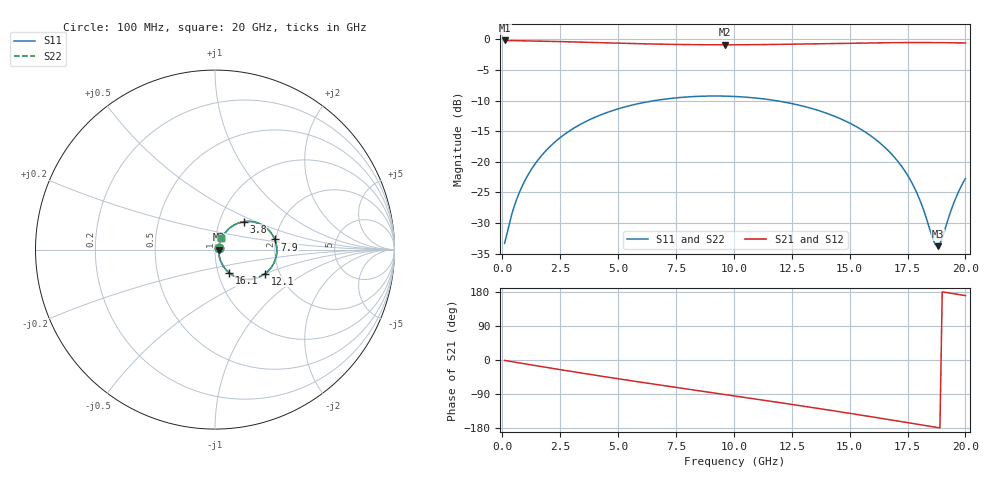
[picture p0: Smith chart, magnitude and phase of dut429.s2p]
! Touchstone file exported from HFSS 2026.1.0
!  File:  C:/ffzhzh/LocalFiles/Ansys_Project_Files/temp_train_TSV_RDL_429_1783096964_53076.aedt
!  Generated:  12:54:21 AM Jul  4, 2026
!  Design:  TSV_RDL
!  Project:  temp_train_TSV_RDL_429_1783096964_53076
! Variables:
!  h_bsmrdl = 3.95um
!  h_ox = 20um
!  h_rdl = 5um
!  h_sub = 75.34um
!  h_tmrdl = 2.76um
!  h_tsv = 75.34um
!  h_via = 3um
!  l_bsmrdl = 340.83um
!  l_sub = 3146.15um
!  l_tmrdl = 406.66um
!  m_sub = 200um
!  pitch = 27.98um
!  r_tsv = 6.09um
!  s_tmrdl = 10um
!  w_bsmrdl = 13.84um
!  w_sub = 500um
!  w_tmrdl = 18.5um
!  x_tsv_center1 = 415.91um
!  x_tsv_center2 = 770.58um
!  x_tsv_center3 = 1195.74um
!  x_tsv_center4 = 1550.41um
!  x_tsv_center5 = 1975.57um
!  x_tsv_center6 = 2330.24um
# GHz S MA R 50.000000
! Terminal data exported
! Port[1] = TM_RDL1_1_T1
! Port[2] = TM_RDL5_1_T1
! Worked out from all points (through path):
!   200 points, 100 MHz to 20 GHz, reference 50 ohm
!   highest |S21| = -0.18 dB at 100 MHz (marker M1); lowest = -0.9 dB at 9.6 GHz (marker M2)
!   group delay of S21, straight-line fit = 25.9 ps
!   lowest |S11| = -33.8 dB at 18.8 GHz (marker M3), VSWR 1.04, Z = 52.1 + j0.00345 ohm
!   |S11| at or under -10 dB: start of sweep to 6.588 GHz; 11.8 GHz to end of sweep
!   |S22| runs from -33.7 to -9.3 dB; largest |S21 - S12| = 1.9e-14
!   S11 on the Smith chart (normalised r, x): 100 MHz: 1.04, +0.02; 3.8 GHz: 1.30, +0.42; 7.9 GHz: 1.98, +0.25; 12.1 GHz: 1.68, -0.50; 16.1 GHz: 1.13, -0.30; 20 GHz: 1.07, +0.14
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0.1  0.02155 20.1  0.9799 -1.1  0.9799 -1.1  0.02155 20.1
! Gamma 0 0 0 0
! Port Impedance 50 0 50 0
0.6  0.04813 54.3  0.9755 -6.3  0.9755 -6.3  0.04813 54.3
1.3  0.08928 59.7  0.9703 -13.4  0.9703 -13.4  0.08928 59.7
2.2  0.141 56.2  0.9624 -22.5  0.9624 -22.5  0.141 56.2
3.5  0.2082 46.7  0.9484 -35.2  0.9484 -35.2  0.2082 46.7
3.8  0.2221 44.3  0.9449 -38.1  0.9449 -38.1  0.2221 44.3
6.8  0.3207 18.9  0.9138 -66.0  0.9138 -66.0  0.3207 18.9
7.9  0.3377 9.6  0.9068 -75.9  0.9068 -75.9  0.3377 9.6
9.6  0.3439 -4.6  0.9028 -91.0  0.9028 -91.0  0.3439 -4.6
10.1  0.3412 -8.8  0.9032 -95.4  0.9032 -95.4  0.3412 -8.8
12.1  0.3094 -25.7  0.9108 -113.5  0.9108 -113.5  0.3094 -25.7
13.4  0.2713 -36.7  0.9195 -125.5  0.9195 -125.5  0.2713 -36.7
14.9  0.2116 -49.1  0.9303 -139.7  0.9303 -139.7  0.2116 -49.1
16.1  0.1534 -58.3  0.9374 -151.4  0.9374 -151.4  0.1534 -58.2
16.7  0.1216 -61.9  0.9399 -157.3  0.9399 -157.3  0.1217 -61.9
17.7  0.06672 -63.3  0.9421 -167.2  0.9421 -167.2  0.06678 -63.2
18.1  0.04519 -58.1  0.9421 -171.2  0.9421 -171.2  0.04528 -57.9
18.6  0.02323 -28.2  0.9414 -176.2  0.9414 -176.2  0.0234 -28.0
18.8  0.02043 0.1  0.9409 -178.1  0.9409 -178.1  0.02062 0.1
19  0.02386 27.5  0.9403 179.9  0.9403 179.9  0.02402 27.3
19.6  0.05138 57.2  0.9377 173.9  0.9377 173.9  0.05145 57.0
20  0.07288 60.6  0.9354 169.9  0.9354 169.9  0.07294 60.4
